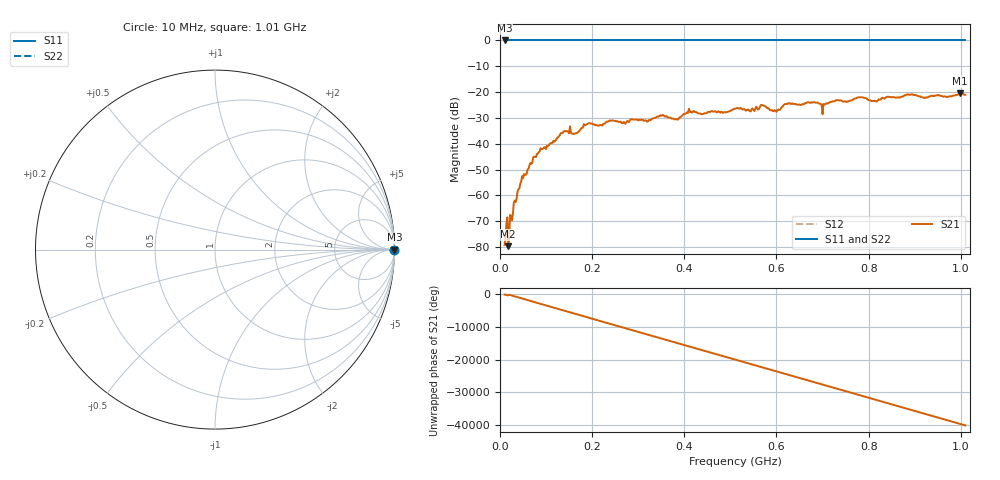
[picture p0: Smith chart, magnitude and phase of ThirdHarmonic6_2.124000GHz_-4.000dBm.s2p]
! 8/17/2025 1:23:09 AM
! C:\ANRITSUVNA\TEMP\TEMP.S2P
! CHANNEL.1
! TR.MEASUREMENT
! RAW.DATA
! RF.CORRECTION.OFF
! AVERAGING.OFF
! IF.BANDWIDTH: 5KHZ
! SWEEPTYPE:  FREQ.SWEEP(Linear)
! Reference Plane Port Info
! PORT:  PORT1  PORT2
! DISTANCE:  0  m  0  m
! TIME:  0  s  0  s
! PHASE.OFFSET:  0  deg.  0  deg.
! LOSS:  0  dB  0  dB
! REF.LOSS:  0  dB  0  dB
! REF.FREQ:  0  Hz  0  Hz
! Power Info
! POWER:  -20  dBm  -20  dBm
! EFF.POWER:  -20  dBm  -20  dBm
! SOURCE.ATTEN:  0  dB  0  dB
! TEST.ATTEN:  0  dB  0  dB
# GHZ S RI R 50.0
! FREQ.GHZ  S11RE  S11IM  S21RE  S21IM  S12RE  S12IM  S22RE  S22IM
!; PortSelection: Port_12
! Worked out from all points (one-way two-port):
!   501 points, 10 MHz to 1.01 GHz, reference 50 ohm
!   highest |S21| = -20.45 dB at 998 MHz (marker M1); lowest = -79.6 dB at 18 MHz (marker M2)
!   lowest |S11| = 0.0 dB at 10 MHz (marker M3)
!   |S11| at or under -10 dB: nowhere
!   |S22| runs from 0.0 to 0.0 dB; largest |S21 - S12| = 1.1
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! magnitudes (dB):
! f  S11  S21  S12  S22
! 10 MHz  0.0  -79.2  0.0  0.0
! 18 MHz  0.0  -79.6  0.0  0.0
! 22 MHz  0.0  -67.6  0.0  0.0
! 26 MHz  0.0  -69.7  0.0  0.0
! 48 MHz  0.0  -52.5  0.0  0.0
! 76 MHz  0.0  -45.1  0.0  0.0
! 136 MHz  0.0  -35.7  0.0  0.0
! 164 MHz  0.0  -35.9  0.0  0.0
! 178 MHz  0.0  -33.9  0.0  0.0
! 344 MHz  0.0  -29.5  0.0  0.0
! 384 MHz  0.0  -30.5  0.0  0.0
! 410 MHz  0.0  -26.5  0.0  0.0
! 510 MHz  0.0  -26.4  0.0  0.0
! 570 MHz  0.0  -25.1  0.0  0.0
! 596 MHz  0.0  -27.0  0.0  0.0
! 622 MHz  0.0  -24.7  0.0  0.0
! 678 MHz  0.0  -24.0  0.0  0.0
! 702 MHz  0.0  -24.6  0.0  0.0
! 732 MHz  0.0  -23.1  0.0  0.0
! 844 MHz  0.0  -21.9  0.0  0.0
! 998 MHz  0.0  -20.4  0.0  0.0
! 1.01 GHz  0.0  -21.0  0.0  0.0
